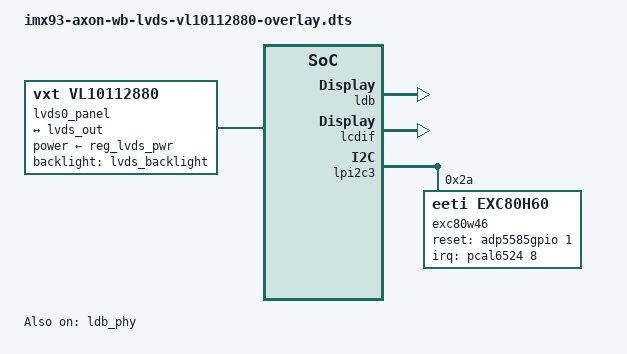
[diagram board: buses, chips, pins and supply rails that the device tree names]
// SPDX-License-Identifier: (GPL-2.0+ OR MIT)
/*
 * Copyright 2020 Technexion Ltd.
 *
 * Author: Ray Chang <ray.chang@technexion.com>
 *
 */

/dts-v1/;
/plugin/;

#include <dt-bindings/interrupt-controller/irq.h>
#include <dt-bindings/gpio/gpio.h>

/ {
	fragment@0 {
		target-path = "/";
		__overlay__ {
			reg_lvds_pwr: regulator_lvdspwr {
				status = "okay";
			};
		};
	};

	fragment@1 {
		target-path = "/";
		__overlay__ {
			reg_lvds_backlight_pwr: regulator_lvdsblpwr {
				status = "okay";
			};
		};
	};

	fragment@2 {
		target-path = "/";
		__overlay__ {
			lvds_backlight: lvds_backlight {
				status = "okay";
			};
		};
	};

	fragment@3 {
		target-path = "/";
		__overlay__ {
			lvds0_panel {
				compatible = "vxt,vl10112880", "panel-lvds";
				backlight = <&lvds_backlight>;
				power-supply = <&reg_lvds_pwr>;

				data-mapping = "vesa-24";
				height-mm = <161>;
				width-mm = <243>;

				panel-timing {
					clock-frequency = <71100000>;
					hactive = <1280>;
					vactive = <800>;
					hback-porch = <40>;
					hfront-porch = <40>;
					vback-porch = <10>;
					vfront-porch = <3>;
					hsync-len = <80>;
					vsync-len = <10>;
					de-active = <1>;
				};

				port {
					panel_lvds_in: endpoint {
						remote-endpoint = <&lvds_out>;
					};
				};
			};
		};
	};

	fragment@4 {
		target = <&ldb>;
		__overlay__ {
			status = "okay";
			lvds-channel@0 {
				#address-cells = <1>;
				#size-cells = <0>;
				fsl,data-mapping = "spwg";
				fsl,data-width = <24>;
				status = "okay";

				port@1 {
					reg = <1>;

					lvds_out: endpoint {
						remote-endpoint = <&panel_lvds_in>;
					};
				};
			};
		};
	};

	fragment@5 {
		target = <&ldb_phy>;
		__overlay__ {
			status = "okay";
		};
	};

	fragment@6 {
		target = <&lcdif>;
		__overlay__ {
			status = "okay";
			assigned-clock-rates = <498000000>, <71100000>, <400000000>, <133333333>;
		};
	};

	fragment@7 {
		target = <&lpi2c3>;
		__overlay__ {
			#address-cells = <1>;
			#size-cells = <0>;
			status = "okay";

			exc80w46: touchscreen@2a {
				compatible = "eeti,exc80h60";
				reg = <0x2a>;
				interrupt-parent = <&pcal6524>;
				interrupts = <8 IRQ_TYPE_LEVEL_LOW>;
				reset-gpios = <&adp5585gpio 1 GPIO_ACTIVE_HIGH>;
				status = "okay";
			};
		};
	};
};
